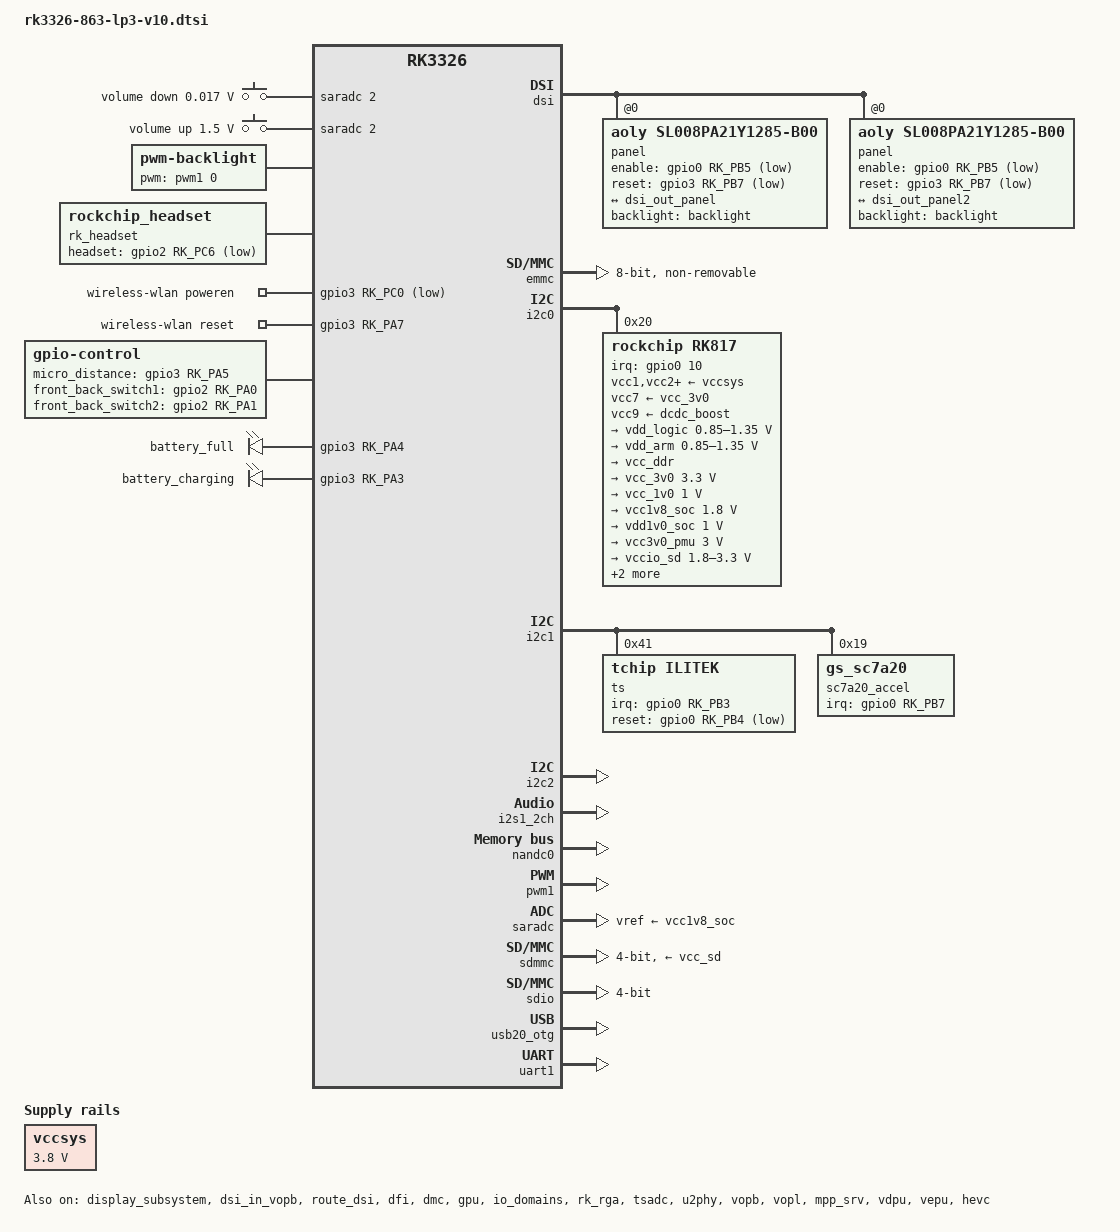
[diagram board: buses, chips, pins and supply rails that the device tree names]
// SPDX-License-Identifier: (GPL-2.0+ OR MIT)
/*
 * Copyright (c) 2017 Fuzhou Rockchip Electronics Co., Ltd
 */

/dts-v1/;
#include <dt-bindings/display/drm_mipi_dsi.h>
#include <dt-bindings/gpio/gpio.h>
#include <dt-bindings/input/input.h>
#include <dt-bindings/pinctrl/rockchip.h>
#include <dt-bindings/sensor-dev.h>
#include "rk3326.dtsi"
#include "rk3326-863-cif-sensor.dtsi"
#include "px30-android.dtsi"

/ {
	adc-keys {
		compatible = "adc-keys";
		io-channels = <&saradc 2>;
		io-channel-names = "buttons";
		poll-interval = <100>;
		keyup-threshold-microvolt = <1800000>;

		vol-down-key {
			linux,code = <KEY_VOLUMEDOWN>;
			label = "volume down";
			press-threshold-microvolt = <17000>;
		};

		vol-up-key {
			linux,code = <KEY_VOLUMEUP>;
			label = "volume up";
			press-threshold-microvolt = <1500000>;
		};
	};

	backlight: backlight {
		compatible = "pwm-backlight";
		pwms = <&pwm1 0 25000 0>;
		brightness-levels = <
			 0   10  10  11  11  12  12  13
			 13  14  14  15  15  16  16  17
			 17  18  18  19  20  21  22  23
			 24  25  26  27  28  29  30  31
			 32  33  34  35  36  37  38  39
			 40  41  42  43  44  45  46  47
			 48  49  50  51  52  53  54  55
			 56  57  58  59  60  61  62  63
			 64  65  66  67  68  69  70  71
			 72  73  74  75  76  77  78  79
			 80  81  82  83  84  85  86  87
			 88  89  90  91  92  93  94  95
			 96  97  98  99 100 101 102 103
			104 105 106 107 108 109 110 111
			112 113 114 115 116 117 118 119
			120 121 122 123 124 125 126 127
			128 129 130 131 132 133 134 135
			136 137 138 139 140 141 142 143
			144 145 146 147 148 149 150 151
			152 153 154 155 156 157 158 159
			160 161 162 163 164 165 166 167
			168 169 170 171 172 173 174 175
			176 177 178 179 180 181 182 183
			184 185 186 187 188 189 190 191
			192 193 194 195 196 197 198 199
			200 201 202 203 204 205 206 207
			208 209 210 211 212 213 214 215
			216 217 218 219 220 221 222 223
			224 225 226 227 228 229 230 231
			232 233 234 235 236 237 238 239
			240 241 242 243 244 245 246 247
			248 249 250 251 252 253 254 255>;
		default-brightness-level = <200>;
	};

	charge-animation {
		compatible = "rockchip,uboot-charge";
		rockchip,uboot-charge-on = <1>;
		rockchip,android-charge-on = <0>;
		rockchip,system-suspend = <1>;
		rockchip,auto-wakeup-interval = <40>;
		rockchip,uboot-low-power-voltage = <3500>;
		rockchip,screen-on-voltage = <3600>;
		status = "okay";
	};

	rk817-sound {
		compatible = "simple-audio-card";
		simple-audio-card,format = "i2s";
		simple-audio-card,name = "rockchip-rk817-codec";
		simple-audio-card,mclk-fs = <256>;
		simple-audio-card,widgets =
			"Microphone", "Mic Jack",
			"Headphone", "Headphone Jack";
		simple-audio-card,routing =
			"Mic Jack", "MICBIAS1",
			"IN1P", "Mic Jack",
			"Headphone Jack", "HPOL",
			"Headphone Jack", "HPOR";
		simple-audio-card,cpu {
			sound-dai = <&i2s1_2ch>;
		};
		simple-audio-card,codec {
			sound-dai = <&rk817_codec>;
		};
	};

	rk_headset: rk-headset {
		compatible = "rockchip_headset";
		headset_gpio = <&gpio2 RK_PC6 GPIO_ACTIVE_LOW>;
		pinctrl-names = "default";
		pinctrl-0 = <&hp_det>;
	};

/*	sdio_pwrseq: sdio-pwrseq {
		compatible = "mmc-pwrseq-simple";
		clocks = <&cru SCLK_WIFI_PMU>;
		clock-names = "clk_wifi_pmu";
		pinctrl-names = "default";
		pinctrl-0 = <&wifi_enable_h>; 
		reset-gpios = <&gpio3 RK_PA7 GPIO_ACTIVE_LOW>; 
	};
*/

	vccsys: vccsys {
		compatible = "regulator-fixed";
		regulator-name = "vcc3v8_sys";
		regulator-always-on;
		regulator-boot-on;
		regulator-min-microvolt = <3800000>;
		regulator-max-microvolt = <3800000>;
	};

	wireless-wlan {
		compatible = "wlan-platdata";
		wifi_chip_type = "atbm6011b";
		sdio_vref = <3300>;
		WIFI,poweren_gpio = <&gpio3 RK_PC0 GPIO_ACTIVE_LOW>;
		WIFI,reset_gpio = <&gpio3 RK_PA7 GPIO_ACTIVE_HIGH>;
		status = "okay";
	};

/*
	wireless-wlan {
		compatible = "wlan-platdata";
		wifi_chip_type = "rtl8723cs";
		WIFI,host_wake_irq = <&gpio0 RK_PB2 GPIO_ACTIVE_HIGH>;
		WIFI,vbat_gpio = <&gpio3 RK_PB6 GPIO_ACTIVE_LOW>;
		status = "okay";
	};*/
	wireless-bluetooth {
		compatible = "bluetooth-platdata";
		uart_rts_gpios = <&gpio1 RK_PC3 GPIO_ACTIVE_LOW>;
		pinctrl-names = "default","rts_gpio";
		pinctrl-0 = <&uart1_rts>;
		pinctrl-1 = <&uart1_rts_gpio>;
		BT,reset_gpio = <&gpio0 RK_PC1 GPIO_ACTIVE_HIGH>;
		BT,wake_gpio = <&gpio0 RK_PA1 GPIO_ACTIVE_HIGH>;
		//BT,wake_host_irq = <&gpio0 RK_PB3 GPIO_ACTIVE_HIGH>;
		status = "disabled";
	};
	
	gpio:control_gpio{
 				status = "okay";
 				compatible = "gpio-control";
 				micro_distance_gpio = <&gpio3 RK_PA5 GPIO_ACTIVE_HIGH>;
 				front_back_switch1 =  <&gpio2 RK_PA0 GPIO_ACTIVE_HIGH>;
 				front_back_switch2 =  <&gpio2 RK_PA1 GPIO_ACTIVE_HIGH>;
 };
		leds {
		   compatible = "gpio-leds";
			status = "okay";
		led_full{
			label = "battery_full";
			gpios = <&gpio3 RK_PA4 GPIO_ACTIVE_HIGH>;
			retain-state-suspended;
			default-state = "off";
		};
		led_charging {
			label = "battery_charging";
			gpios = <&gpio3 RK_PA3 GPIO_ACTIVE_HIGH>;
			retain-state-suspended;
			default-state = "off";
		};
	};
};


&display_subsystem {
	status = "okay";
};

&dsi {
	status = "okay";

	panel@0 {
		compatible = "aoly,sl008pa21y1285-b00", "simple-panel-dsi";
		reg = <0>;
		num = <0>;
		id = [1a];
		id-reg = <0x02>;
		backlight = <&backlight>;
		enable-gpios = <&gpio0 RK_PB5 GPIO_ACTIVE_LOW>;
		reset-gpios = <&gpio3 RK_PB7 GPIO_ACTIVE_LOW>;
		prepare-delay-ms = <20>;
		reset-delay-ms = <200>;
		init-delay-ms = <20>;
		enable-delay-ms = <120>;
		disable-delay-ms = <20>;
		unprepare-delay-ms = <20>;

		width-mm = <108>;
		height-mm = <172>;

		dsi,flags = <(MIPI_DSI_MODE_VIDEO | MIPI_DSI_MODE_VIDEO_BURST |
			      MIPI_DSI_MODE_LPM | MIPI_DSI_MODE_EOT_PACKET)>;
		dsi,format = <MIPI_DSI_FMT_RGB888>;
		dsi,lanes = <4>;

		panel-init-sequence = [
39 00 04 ff 98 81 01
15 00 02 91 00
15 00 02 92 00
15 00 02 93 51
15 00 02 94 11
15 00 02 95 00
15 00 02 96 04
15 00 02 97 00
15 00 02 98 00
15 00 02 09 08
15 00 02 0a 08
15 00 02 0b 00
15 00 02 0c 00
15 00 02 0d 00
15 00 02 0e 00
15 00 02 0f 08
15 00 02 10 08
15 00 02 11 00
15 00 02 12 00
15 00 02 13 00
15 00 02 14 00
15 00 02 15 08
15 00 02 16 10   
15 00 02 17 00    
15 00 02 18 08    
15 00 02 19 00    
15 00 02 19 00   
15 00 02 1a 00    
15 00 02 1b 00    
15 00 02 1c 00    
15 00 02 1d 00    
15 00 02 1e c0    
15 00 02 1f 40    
15 00 02 20 00    
15 00 02 21 03    
15 00 02 22 01    
15 00 02 23 03    
15 00 02 24 8c    
15 00 02 25 8c    
15 00 02 26 00    
15 00 02 27 00    
15 00 02 28 33    
15 00 02 29 11    
15 00 02 2a 00    
15 00 02 2b 00    
15 00 02 2c 08    
15 00 02 2d 08    
15 00 02 2e 08    
15 00 02 2f 08    
15 00 02 30 00    
15 00 02 31 00    
15 00 02 32 31    
15 00 02 33 00    
15 00 02 34 00    
15 00 02 35 0a    
15 00 02 36 00    
15 00 02 37 08    
15 00 02 38 3c    
15 00 02 39 07    
15 00 02 3a 00    
15 00 02 3b 00    
15 00 02 3c 00    
15 00 02 40 03    
15 00 02 41 20    
15 00 02 42 00    
15 00 02 43 40    
15 00 02 44 03    
15 00 02 45 00    
15 00 02 46 01    
15 00 02 47 08    
15 00 02 48 00    
15 00 02 49 00   
15 00 02 4a 00    
15 00 02 4b 00    
15 00 02 4c 72    
15 00 02 4d 0b    
15 00 02 4e b1    
15 00 02 4f 79    
15 00 02 50 25    
15 00 02 51 22    
15 00 02 52 22    
15 00 02 53 22    
15 00 02 54 22    
15 00 02 55 22    
15 00 02 56 22    
15 00 02 57 62    
15 00 02 58 0a    
15 00 02 59 a1    
15 00 02 5a 68    
15 00 02 5b 24    
15 00 02 5c 22    
15 00 02 5d 22    
15 00 02 5e 22    
15 00 02 5f 22    
15 00 02 60 22    
15 00 02 61 22   
15 00 02 62 06    
15 00 02 63 02    
15 00 02 64 0a    
15 00 02 65 06    
15 00 02 66 00    
15 00 02 67 01    
15 00 02 68 54    
15 00 02 69 56    
15 00 02 6a 58    
15 00 02 6b 5a
15 00 02 6c 02    
15 00 02 6d 02    
15 00 02 6e 02    
15 00 02 6f 02    
15 00 02 70 02    
15 00 02 71 02    
15 00 02 72 02    
15 00 02 73 02    
15 00 02 74 02    
15 00 02 75 02    
15 00 02 76 02    
15 00 02 77 02     
15 00 02 78 02    
15 00 02 79 02    
15 00 02 7a 0b    
15 00 02 7b 07    
15 00 02 7c 00    
15 00 02 7d 01    
15 00 02 7e 55    
15 00 02 7f 57    
15 00 02 80 59    
15 00 02 81 5b    
15 00 02 82 02    
15 00 02 83 02    
15 00 02 84 02    
15 00 02 85 02    
15 00 02 86 02    
15 00 02 87 02    
15 00 02 88 02    
15 00 02 89 02    
15 00 02 8a 02    
15 00 02 8b 02    
15 00 02 8c 02    
15 00 02 8d 02    
15 00 02 8e 02    
15 00 02 a0 35    
15 00 02 a1 00    
15 00 02 a2 00    
15 00 02 a3 00    
15 00 02 a4 00    
15 00 02 a5 10    
15 00 02 a6 08    
15 00 02 a7 00    
15 00 02 a8 00    
15 00 02 a9 00    
15 00 02 aa 00    
15 00 02 ab 00    
15 00 02 ac 00    
15 00 02 ad 00    
15 00 02 ae ff    
15 00 02 af 00
15 00 02 b0 00
39 00 04 ff 98 81 02
39 00 15 a0 00 05 14 18 22 3a 2f 2a 96 1d 2a 6e 27 28 5a 2a 2d 20 29 2e
39 00 15 c0 00 05 14 18 22 3a 2f 2a 96 1d 2a 6e 27 28 5a 2a 2d 20 29 2e
15 00 02 18 f4
39 00 04 ff 98 81 05
15 00 02 22 0d
39 00 04 ff 98 81 04     
15 00 02 5d 83     
15 00 02 5e 83    
15 00 02 60 6c    
15 00 02 62 6c    
15 00 02 82 3a    
15 00 02 84 3a    
15 00 02 86 22    
15 00 02 66 04    
15 00 02 c1 70    
15 00 02 70 60    
15 00 02 71 00    
15 00 02 5b 33    
15 00 02 6c 10    
15 00 02 77 03    
15 00 02 7b 02
39 00 04 ff 98 81 01
39 00 04 ff 98 81 00    
15 00 02 35 00    
15 00 02 11 00    
15 00 02 29 00 
05 78 01 11
05 14 01 29
];
		panel-exit-sequence = [
			05 00 01 28
			05 00 01 10
		];
			panel-read-id-sequence = [		
			39 00 04 ff 98 81 01
		];
		display-timings {
			native-mode = <&timing0>;

			timing0: timing0 {
				clock-frequency = <66000000>;
				hactive = <720>;
				vactive = <1280>;
				hfront-porch = <60>;
				hsync-len = <8>;
				hback-porch = <50>;
				vfront-porch = <12>;
				vsync-len = <4>;
				vback-porch = <12>;
				hsync-active = <0>;
				vsync-active = <0>;
				de-active = <0>;
				pixelclk-active = <0>;
			};
		};

		ports {
			#address-cells = <1>;
			#size-cells = <0>;

			port@0 {
				reg = <0>;
				panel_in_dsi: endpoint {
					remote-endpoint = <&dsi_out_panel>;
				};
			};
		};
	};
	#if 1
panel@1{
		compatible = "aoly,sl008pa21y1285-b00", "simple-panel-dsi";
		reg = <0>;
		num = <1>;
		id = [5c];
		id-reg = <0x02>;
		backlight = <&backlight>;
		enable-gpios = <&gpio0 RK_PB5 GPIO_ACTIVE_LOW>;
		reset-gpios = <&gpio3 RK_PB7 GPIO_ACTIVE_LOW>;
		prepare-delay-ms = <20>;
		reset-delay-ms = <200>;
		init-delay-ms = <20>;
		enable-delay-ms = <120>;
		disable-delay-ms = <20>;
		unprepare-delay-ms = <20>;

		width-mm = <108>;
		height-mm = <172>;

		dsi,flags = <(MIPI_DSI_MODE_VIDEO | MIPI_DSI_MODE_VIDEO_BURST |
			      MIPI_DSI_MODE_LPM | MIPI_DSI_MODE_EOT_PACKET)>;
		dsi,format = <MIPI_DSI_FMT_RGB888>;
		dsi,lanes = <4>;
		panel-init-sequence = [
//ILI9881C-05&ILI9881C-0DT new
39 00 04 FF 98 81 03
15 00 02 01 00
15 00 02 02 00
15 00 02 03 51
15 00 02 04 11
15 00 02 05 00
15 00 02 06 04
15 00 02 07 00
15 00 02 08 00
15 00 02 09 08
15 00 02 0a 08
15 00 02 0b 00
15 00 02 0c 00
15 00 02 0d 00
15 00 02 0e 00
15 00 02 0f 08
15 00 02 10 08
15 00 02 11 00
15 00 02 12 00
15 00 02 13 00
15 00 02 14 00
15 00 02 15 00
15 00 02 16 00
15 00 02 17 00
15 00 02 18 00
15 00 02 19 00
15 00 02 1a 00
15 00 02 1b 00
15 00 02 1c 00
15 00 02 1d 00
15 00 02 1e 40
15 00 02 1f C0
15 00 02 20 00
15 00 02 21 03
15 00 02 22 07
15 00 02 23 00
15 00 02 24 8A
15 00 02 25 8A
15 00 02 26 00
15 00 02 27 00
15 00 02 28 33
15 00 02 29 11
15 00 02 2a 00
15 00 02 2b 00
15 00 02 2c 08
15 00 02 2d 08
15 00 02 2e 0B
15 00 02 2f 0B
15 00 02 30 00
15 00 02 31 00
15 00 02 32 31
15 00 02 33 00
15 00 02 34 00
15 00 02 35 0A
15 00 02 36 00
15 00 02 37 08
15 00 02 38 3C
15 00 02 39 00
15 00 02 3a 00
15 00 02 3b 00
15 00 02 3c 00
15 00 02 3d 00
15 00 02 3e 00
15 00 02 3f 00
15 00 02 40 00
15 00 02 41 00
15 00 02 42 00
15 00 02 43 08
15 00 02 44 00
15 00 02 50 01
15 00 02 51 23
15 00 02 52 45
15 00 02 53 67
15 00 02 54 89
15 00 02 55 ab
15 00 02 56 01
15 00 02 57 23
15 00 02 58 45
15 00 02 59 67
15 00 02 5a 89
15 00 02 5b ab
15 00 02 5c cd
15 00 02 5d ef
15 00 02 5e 11
15 00 02 5f 02
15 00 02 60 08
15 00 02 61 06
15 00 02 62 00
15 00 02 63 01
15 00 02 64 0C
15 00 02 65 0D
15 00 02 66 0E
15 00 02 67 0F
15 00 02 68 02
15 00 02 69 02
15 00 02 6a 02
15 00 02 6b 02
15 00 02 6c 02
15 00 02 6d 02
15 00 02 6e 02
15 00 02 6f 02
15 00 02 70 02
15 00 02 71 02
15 00 02 72 02
15 00 02 73 02
15 00 02 74 02
15 00 02 75 02
15 00 02 76 06
15 00 02 77 08
15 00 02 78 00
15 00 02 79 01
15 00 02 7a 0C
15 00 02 7b 0D
15 00 02 7c 0E
15 00 02 7d 0F
15 00 02 7e 02
15 00 02 7f 02
15 00 02 80 02
15 00 02 81 02
15 00 02 82 02
15 00 02 83 02
15 00 02 84 02
15 00 02 85 02
15 00 02 86 02
15 00 02 87 02
15 00 02 88 02
15 00 02 89 02
15 00 02 8A 02
39 00 04 FF 98 81 04
15 00 02 6E 2B
15 00 02 6F 37
15 00 02 3A A4
15 00 02 8D 1D
15 00 02 87 BA
15 00 02 B2 D1
15 00 02 88 0B
15 00 02 38 01
15 00 02 39 00
15 00 02 B5 02
15 00 02 31 25
15 00 02 3B 98
39 00 04 FF 98 81 01
15 00 02 22 09
15 00 02 31 00
15 00 02 53 71
15 00 02 55 87
15 00 02 50 BF
15 00 02 51 BA
15 00 02 60 3c
15 00 02 62 20
15 00 02 A0 01
15 00 02 A1 14
15 00 02 A2 2B
15 00 02 A3 1C
15 00 02 A4 25
15 00 02 A5 3E
15 00 02 A6 2F
15 00 02 A7 2E
15 00 02 A8 AB
15 00 02 A9 1F
15 00 02 AA 27
15 00 02 AB 74
15 00 02 AC 25
15 00 02 AD 24
15 00 02 AE 53
15 00 02 AF 21
15 00 02 B0 29
15 00 02 B1 22
15 00 02 B2 2C
15 00 02 B3 00
15 00 02 C0 00
15 00 02 C1 10
15 00 02 C2 28
15 00 02 C3 1E
15 00 02 C4 27
15 00 02 C5 3A
15 00 02 C6 2E
15 00 02 C7 2A
15 00 02 C8 A4
15 00 02 C9 1F
15 00 02 CA 27
15 00 02 CB 7C
15 00 02 CC 24
15 00 02 CD 29
15 00 02 CE 5D
15 00 02 CF 29
15 00 02 D0 31
15 00 02 D1 26
15 00 02 D2 2C
15 00 02 D3 00
39 00 04 FF 98 81 00
15 00 02 21 00 
15 ff 02 11 00 
15 00 02 29 00
15 00 02 35 00
05 78 01 11
05 14 01 29
];
			panel-read-id-sequence = [		
			39 00 04 ff 98 81 01
		];
		panel-exit-sequence = [
			05 00 01 28
			05 00 01 10
		];
	
		display-timings {
			native-mode = <&timing0>;

			timing1: timing1 {
				clock-frequency = <66000000>;
				hactive = <720>;
				vactive = <1280>;
				hfront-porch = <60>;
				hsync-len = <8>;
				hback-porch = <50>;
				vfront-porch = <12>;
				vsync-len = <4>;
				vback-porch = <12>;
				hsync-active = <0>;
				vsync-active = <0>;
				de-active = <0>;
				pixelclk-active = <0>;
			};
		};
			   ports {
             #address-cells = <1>;
             #size-cells = <0>;

             port@0 {
                 reg = <0>;
                 panel2_in_dsi: endpoint {
                     remote-endpoint = <&dsi_out_panel2>;
                 };
             };
         };
	};
	#endif
};

&dsi_in_vopb {
	status = "okay";
};

&dsi_in_vopl {
	status = "disabled";
};

&route_dsi {
	connect = <&vopb_out_dsi>;
	status = "okay";
};

&bus_apll {
	bus-supply = <&vdd_logic>;
	status = "okay";
};

&cpu0 {
	cpu-supply = <&vdd_arm>;
};

&cpu0_opp_table {
	/*
	 * max IR-drop values on different freq condition for this board!
	 */
	rockchip,board-irdrop = <
		/*MHz	MHz	uV */
		0	815	37500
		816	1119	50000
		1200	1512	75000
	>;
};

&dmc_opp_table {
	/*
	 * max IR-drop values on different freq condition for this board!
	 */
	rockchip,board-irdrop = <
		/*MHz	MHz	uV */
		451	800	75000
	>;
};

&dfi {
	status = "okay";
};

&dmc {
	center-supply = <&vdd_logic>;
	status = "okay";
};

&emmc {
	bus-width = <8>;
	cap-mmc-highspeed;
	mmc-hs200-1_8v;
	supports-emmc;
	disable-wp;
	non-removable;
	num-slots = <1>;
	status = "okay";
};

&gpu {
	mali-supply = <&vdd_logic>;
	status = "okay";
};

&i2c0 {
	status = "okay";

	rk817: pmic@20 {
		compatible = "rockchip,rk817";
		reg = <0x20>;
		interrupt-parent = <&gpio0>;
		interrupts = <10 IRQ_TYPE_LEVEL_LOW>;
		pinctrl-names = "default", "pmic-sleep",
				"pmic-power-off", "pmic-reset";
		pinctrl-0 = <&pmic_int>;
		pinctrl-1 = <&soc_slppin_slp>, <&rk817_slppin_slp>;
		pinctrl-2 = <&soc_slppin_gpio>, <&rk817_slppin_pwrdn>;
		pinctrl-3 = <&soc_slppin_rst>, <&rk817_slppin_rst>;
		rockchip,system-power-controller;
		wakeup-source;
		#clock-cells = <1>;
		clock-output-names = "rk808-clkout1", "rk808-clkout2";
		//fb-inner-reg-idxs = <2>;
		/* 1: rst regs (default in codes), 0: rst the pmic */
		pmic-reset-func = <1>;

		vcc1-supply = <&vccsys>;
		vcc2-supply = <&vccsys>;
		vcc3-supply = <&vccsys>;
		vcc4-supply = <&vccsys>;
		vcc5-supply = <&vccsys>;
		vcc6-supply = <&vccsys>;
		vcc7-supply = <&vcc_3v0>;
		vcc8-supply = <&vccsys>;
		vcc9-supply = <&dcdc_boost>;

		pwrkey {
			status = "okay";
		};

		pinctrl_rk8xx: pinctrl_rk8xx {
			gpio-controller;
			#gpio-cells = <2>;

			rk817_ts_gpio1: rk817_ts_gpio1 {
				pins = "gpio_ts";
				function = "pin_fun1";
				/* output-low; */
				/* input-enable; */
			};

			rk817_gt_gpio2: rk817_gt_gpio2 {
				pins = "gpio_gt";
				function = "pin_fun1";
			};

			rk817_pin_ts: rk817_pin_ts {
				pins = "gpio_ts";
				function = "pin_fun0";
			};

			rk817_pin_gt: rk817_pin_gt {
				pins = "gpio_gt";
				function = "pin_fun0";
			};

			rk817_slppin_null: rk817_slppin_null {
				pins = "gpio_slp";
				function = "pin_fun0";
			};

			rk817_slppin_slp: rk817_slppin_slp {
				pins = "gpio_slp";
				function = "pin_fun1";
			};

			rk817_slppin_pwrdn: rk817_slppin_pwrdn {
				pins = "gpio_slp";
				function = "pin_fun2";
			};

			rk817_slppin_rst: rk817_slppin_rst {
				pins = "gpio_slp";
				function = "pin_fun3";
			};
		};

		regulators {
			vdd_logic: DCDC_REG1 {
				regulator-always-on;
				regulator-boot-on;
				regulator-early-min-microvolt = <1000000>;
				regulator-min-microvolt = <850000>;
				regulator-max-microvolt = <1350000>;
				regulator-ramp-delay = <6001>;
				regulator-initial-mode = <0x2>;
				regulator-name = "vdd_logic";
				regulator-state-mem {
					regulator-on-in-suspend;
					regulator-suspend-microvolt = <950000>;
				};
			};

			vdd_arm: DCDC_REG2 {
				regulator-always-on;
				regulator-boot-on;
				regulator-min-microvolt = <850000>;
				regulator-max-microvolt = <1350000>;
				regulator-ramp-delay = <6001>;
				regulator-initial-mode = <0x2>;
				regulator-name = "vdd_arm";
				regulator-state-mem {
					regulator-off-in-suspend;
					regulator-suspend-microvolt = <950000>;
				};
			};

			vcc_ddr: DCDC_REG3 {
				regulator-always-on;
				regulator-boot-on;
				regulator-initial-mode = <0x2>;
				regulator-name = "vcc_ddr";
				regulator-state-mem {
					regulator-on-in-suspend;
				};
			};

			vcc_3v0: DCDC_REG4 {
				regulator-always-on;
				regulator-boot-on;
				regulator-min-microvolt = <3300000>;
				regulator-max-microvolt = <3300000>;
				regulator-initial-mode = <0x2>;
				regulator-name = "vcc_3v0";
				regulator-state-mem {
					regulator-on-in-suspend;
					regulator-suspend-microvolt = <3300000>;
				};
			};

			vcc_1v0: LDO_REG1 {
				regulator-always-on;
				regulator-boot-on;
				regulator-min-microvolt = <1000000>;
				regulator-max-microvolt = <1000000>;
				regulator-name = "vcc_1v0";
				regulator-state-mem {
					regulator-on-in-suspend;
					regulator-suspend-microvolt = <1000000>;
				};
			};

			vcc1v8_soc: LDO_REG2 {
				regulator-always-on;
				regulator-boot-on;
				regulator-min-microvolt = <1800000>;
				regulator-max-microvolt = <1800000>;

				regulator-name = "vcc1v8_soc";
				regulator-state-mem {
					regulator-on-in-suspend;
					regulator-suspend-microvolt = <1800000>;
				};
			};

			vdd1v0_soc: LDO_REG3 {
				regulator-always-on;
				regulator-boot-on;
				regulator-min-microvolt = <1000000>;
				regulator-max-microvolt = <1000000>;

				regulator-name = "vcc1v0_soc";
				regulator-state-mem {
					regulator-on-in-suspend;
					regulator-suspend-microvolt = <1000000>;
				};
			};

			vcc3v0_pmu: LDO_REG4 {
				regulator-always-on;
				regulator-boot-on;
				regulator-min-microvolt = <3000000>;
				regulator-max-microvolt = <3000000>;

				regulator-name = "vcc3v0_pmu";
				regulator-state-mem {
					regulator-on-in-suspend;
					regulator-suspend-microvolt = <3000000>;

				};
			};

			vccio_sd: LDO_REG5 {
				regulator-always-on;
				regulator-boot-on;
				regulator-min-microvolt = <1800000>;
				regulator-max-microvolt = <3300000>;

				regulator-name = "vccio_sd";
				regulator-state-mem {
					regulator-on-in-suspend;
					regulator-suspend-microvolt = <3300000>;
				};
			};

			vcc_sd: LDO_REG6 {
				regulator-min-microvolt = <3300000>;
				regulator-max-microvolt = <3300000>;

				regulator-name = "vcc_sd";
				regulator-state-mem {
					regulator-on-in-suspend;
					regulator-suspend-microvolt = <3300000>;

				};
			};

			vcc2v8_dvp: LDO_REG7 {
				regulator-boot-off;
				regulator-min-microvolt = <2800000>;
				regulator-max-microvolt = <2800000>;

				regulator-name = "vcc2v8_dvp";
				regulator-state-mem {
					regulator-off-in-suspend;
					regulator-suspend-microvolt = <2800000>;
				};
			};

			vcc1v8_dvp: LDO_REG8 {
				regulator-boot-off;
				regulator-min-microvolt = <2800000>;
				regulator-max-microvolt = <2800000>;

				regulator-name = "vcc1v8_dvp";
				regulator-state-mem {
					regulator-off-in-suspend;
					regulator-suspend-microvolt = <2800000>;
				};
			};

			vdd1v5_dvp: LDO_REG9 {
				regulator-boot-off;
				regulator-min-microvolt = <1200000>;
				regulator-max-microvolt = <1200000>;

				regulator-name = "vdd1v5_dvp";
				regulator-state-mem {
					regulator-off-in-suspend;
					regulator-suspend-microvolt = <1200000>;
				};
			};

			dcdc_boost: BOOST {
				regulator-always-on;
				regulator-boot-on;
				regulator-min-microvolt = <4700000>;
				regulator-max-microvolt = <5400000>;
				regulator-name = "boost";
			};

			otg_switch: OTG_SWITCH {
				regulator-name = "otg_switch";
			};
		};

		battery {
			compatible = "rk817,battery";
			ocv_table= <3400	3646	3681	3704	3727	3741	3758	3770	3780	3792	3806	3825	3850	3888	3923	3953	3974	4020	4066	4107	4159>;
			/*ocv_table = <3500 3548 3592 3636 3687 3740 3780
				3806 3827 3846 3864 3889 3929 3964
				3993 4015 4030 4041 4056 4076 4148>;
				*/
		ntc_table = <43115 41204 39353 37596 35927 34343 32837 31407 30047 28754
								27523 26353 25239 24178 23169 22206 21290 20416 19583 18789
	              18031 17308 16618 15960 15331 14730 14156 13608 13083 12582 
		     				12103 11645 11206 10786 10358 10000 9632 9279 8941 8617
		     				8306 8009 7723 7449 7187 6935 6693 6461 6238 6024
		     				5818 5620 5430 5248 5073 4904 4742 4586 4436 4291
		     				4152>;
		  ntc_degree_from = <1 10>;	   
			design_capacity = <2300>;
			design_qmax = <2530>;
			bat_res = <120>;
			sleep_enter_current = <150>;
			sleep_exit_current = <180>;
			sleep_filter_current = <100>;
			power_off_thresd = <3500>;
			zero_algorithm_vol = <3850>;
			max_soc_offset = <60>;
			monitor_sec = <5>;
			sample_res = <10>;
			virtual_power = <0>;
		};

		charger {
			compatible = "rk817,charger";
			min_input_voltage = <4500>;
			max_input_current = <850>;
			max_chrg_current = <1000>;
			max_chrg_voltage = <4200>;
			chrg_term_mode = <0>;
			chrg_finish_cur = <200>;
			virtual_power = <0>;
			dc_det_adc = <0>;
			extcon = <&u2phy>;
		};

		rk817_codec: codec {
			#sound-dai-cells = <0>;
			compatible = "rockchip,rk817-codec";
			clocks = <&cru SCLK_I2S1_OUT>;
			clock-names = "mclk";
			pinctrl-names = "default";
			pinctrl-0 = <&i2s1_2ch_mclk>;
			hp-volume = <20>;
			spk-volume = <3>;
			capture-volume=<10>;
			mic-in-differential;
			status = "okay";
		};
	};
};

&i2c1 {
	status = "okay";

	ts@41 {
	status = "okay";
	compatible = "tchip,ilitek";
	reg = <0x41>;
	touch,irq-gpio = <&gpio0 RK_PB3 IRQ_TYPE_EDGE_RISING>;
	touch,reset-gpio = <&gpio0 RK_PB4 GPIO_ACTIVE_LOW>;
    };
	sc7a20_accel@19 {
		status = "okay";
		compatible = "gs_sc7a20";
		reg = <0x19>;
		type = <SENSOR_TYPE_ACCEL>;
		irq-gpio = <&gpio0 RK_PB7 IRQ_TYPE_LEVEL_LOW>;
		irq_enable = <0>;
		poll_delay_ms = <30>;
		layout = <6>;
		reprobe_en = <1>;
	};
};

&i2c2 {
	status = "okay";
};

&i2s1_2ch {
	status = "okay";
	#sound-dai-cells = <0>;
};

&io_domains {
	status = "okay";

	vccio1-supply = <&vcc_3v0>;
	vccio2-supply = <&vccio_sd>;
	vccio3-supply = <&vcc1v8_dvp>;
	vccio4-supply = <&vcc_3v0>;
	vccio5-supply = <&vcc_3v0>;
};

&nandc0 {
	status = "okay";
};

&pinctrl {
	headphone {
		hp_det: hp-det {
			rockchip,pins = <2 RK_PC6 RK_FUNC_GPIO &pcfg_pull_up>;
		};
	};

	pmic {
		pmic_int: pmic_int {
			rockchip,pins =
				<0 RK_PB2 RK_FUNC_GPIO &pcfg_pull_up>;
		};

		soc_slppin_gpio: soc_slppin_gpio {
			rockchip,pins =
				<0 RK_PA4 RK_FUNC_GPIO &pcfg_output_low>;
		};

		soc_slppin_slp: soc_slppin_slp {
			rockchip,pins =
				<0 RK_PA4 1 &pcfg_pull_none>;
		};

		soc_slppin_rst: soc_slppin_rst {
			rockchip,pins =
				<0 RK_PA4 2 &pcfg_pull_none>;
		};
	};

/*	sdio-pwrseq {
		wifi_enable_h: wifi-enable-h {
			rockchip,pins = <0 RK_PA2 RK_FUNC_GPIO &pcfg_pull_none>;
		};
	};
*/
};

&pmu_io_domains {
	status = "okay";

	pmuio1-supply = <&vcc3v0_pmu>;
	pmuio2-supply = <&vcc3v0_pmu>;
};

&pwm1 {
	status = "okay";
};

&rk_rga {
	status = "okay";
};

&rockchip_suspend {
	status = "okay";
	rockchip,sleep-debug-en = <1>;
};

&saradc {
	status = "okay";
	vref-supply = <&vcc1v8_soc>;
};

&sdmmc {
	bus-width = <4>;
	cap-mmc-highspeed;
	cap-sd-highspeed;
	supports-sd;
	card-detect-delay = <800>;
	ignore-pm-notify;
	sd-uhs-sdr12;
	sd-uhs-sdr25;
	sd-uhs-sdr50;
	sd-uhs-sdr104;
	vqmmc-supply = <&vccio_sd>;
	vmmc-supply = <&vcc_sd>;
	//status = "disabled";
	status = "okay";
};

&sdio {
	max-frequency = <50000000>;
	clock-freq-min-max = <200000 50000000>;
	bus-width = <4>;
	cap-sd-highspeed;
	supports-sdio;
	cap-sdio-irq;
	disable-wp;
	keep-power-in-suspend;
//	mmc-pwrseq = <&sdio_pwrseq>;
//	non-removable;
	status = "okay";
};

&tsadc {
	pinctrl-names = "gpio", "otpout";
	pinctrl-0 = <&tsadc_otp_gpio>;
	pinctrl-1 = <&tsadc_otp_out>;
	status = "okay";
};

&u2phy {
	status = "okay";

	u2phy_host: host-port {
		rockchip,low-power-mode;
		status = "okay";
	};

	u2phy_otg: otg-port {
		rockchip,low-power-mode;
		status = "okay";
	};
};

&usb20_otg {
	status = "okay";
};

&uart1 {
	pinctrl-names = "default";
	pinctrl-0 = <&uart1_xfer &uart1_cts>;
	status = "okay";
};

&vip_mmu {
	status = "okay";
};

&vopb {
	status = "okay";
};

&vopb_mmu {
	status = "okay";
};

&vopl {
	status = "okay";
};

&vopl_mmu {
	status = "okay";
};

&mpp_srv {
	status = "okay";
};

&vdpu {
	status = "okay";
};

&vepu {
	status = "okay";
};

&vpu_mmu {
	status = "okay";
};

&hevc {
	status = "okay";
};

&hevc_mmu {
	status = "okay";
};
